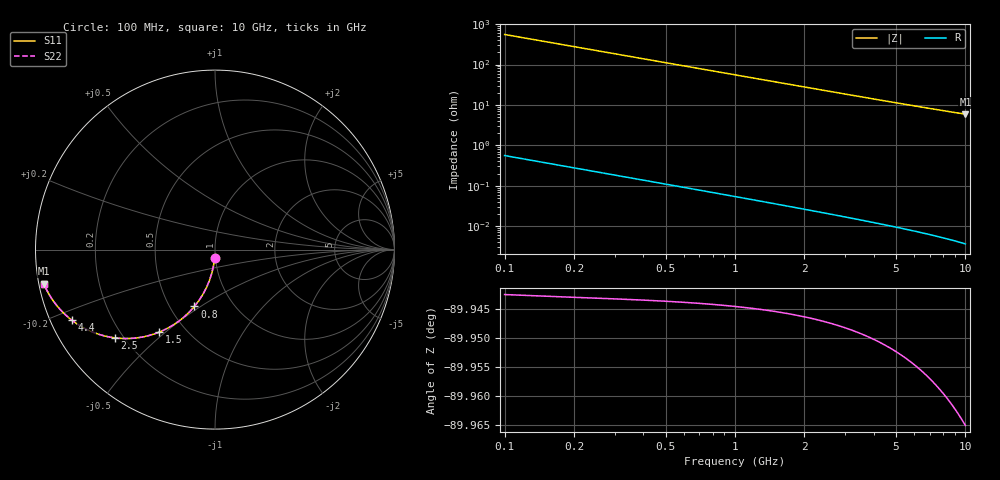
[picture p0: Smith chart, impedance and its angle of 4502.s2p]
# Hz S RI R 50.00
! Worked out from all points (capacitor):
!   100 points, 100 MHz to 10 GHz, reference 50 ohm
!   read as one part in shunt: C = 2.86 pF near 100 MHz
!   lowest |Z| = 5.9 ohm at 10 GHz (marker M1)
!   S11 on the Smith chart (normalised r, x): 100 MHz: 0.99, -0.09; 800 MHz: 0.66, -0.47; 1.5 GHz: 0.36, -0.48; 2.5 GHz: 0.17, -0.37; 4.4 GHz: 0.06, -0.23; 10 GHz: 0.01, -0.10
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1e8  -0.00197 -0.0447  0.9978 -0.0451  0.9978 -0.0451  -0.00197 -0.0447
2e8  -0.00802 -0.0889  0.9918 -0.0896  0.9918 -0.0896  -0.00802 -0.0889
3e8  -0.0179 -0.132  0.9819 -0.133  0.9819 -0.133  -0.0179 -0.132
4e8  -0.0314 -0.1735  0.9684 -0.1749  0.9684 -0.1749  -0.0314 -0.1735
5e8  -0.0482 -0.2131  0.9516 -0.2149  0.9516 -0.2149  -0.0482 -0.2131
6e8  -0.068 -0.2504  0.9318 -0.2525  0.9318 -0.2525  -0.068 -0.2504
8e8  -0.1148 -0.317  0.885 -0.3198  0.885 -0.3198  -0.1148 -0.317
9e8  -0.141 -0.346  0.8589 -0.3492  0.8589 -0.3492  -0.141 -0.346
1.1e9  -0.1968 -0.3952  0.803 -0.3991  0.803 -0.3991  -0.1968 -0.3952
1.3e9  -0.255 -0.4331  0.7448 -0.4377  0.7448 -0.4377  -0.255 -0.4331
1.5e9  -0.313 -0.4606  0.6868 -0.4659  0.6868 -0.4659  -0.313 -0.4606
1.8e9  -0.3961 -0.4854  0.6037 -0.4918  0.6037 -0.4918  -0.3961 -0.4854
2.1e9  -0.4717 -0.495  0.5281 -0.5024  0.5281 -0.5024  -0.4717 -0.495
2.5e9  -0.5586 -0.4916  0.4411 -0.5005  0.4411 -0.5005  -0.5586 -0.4916
2.9e9  -0.6302 -0.477  0.3696 -0.4874  0.3696 -0.4874  -0.6302 -0.477
3.4e9  -0.7009 -0.4512  0.2988 -0.4633  0.2988 -0.4633  -0.7009 -0.4512
3.9e9  -0.7553 -0.4223  0.2444 -0.4363  0.2444 -0.4363  -0.7553 -0.4223
4.4e9  -0.7973 -0.3935  0.2024 -0.4093  0.2024 -0.4093  -0.7973 -0.3935
5.1e9  -0.8411 -0.3556  0.1585 -0.374  0.1585 -0.374  -0.8411 -0.3556
6.7e9  -0.9019 -0.2844  0.0976 -0.3087  0.0976 -0.3087  -0.9019 -0.2844
8.4e9  -0.9358 -0.2286  0.0635 -0.2594  0.0635 -0.2594  -0.9358 -0.2286
1e10  -0.9542 -0.1889  0.0449 -0.2261  0.0449 -0.2261  -0.9542 -0.1889
